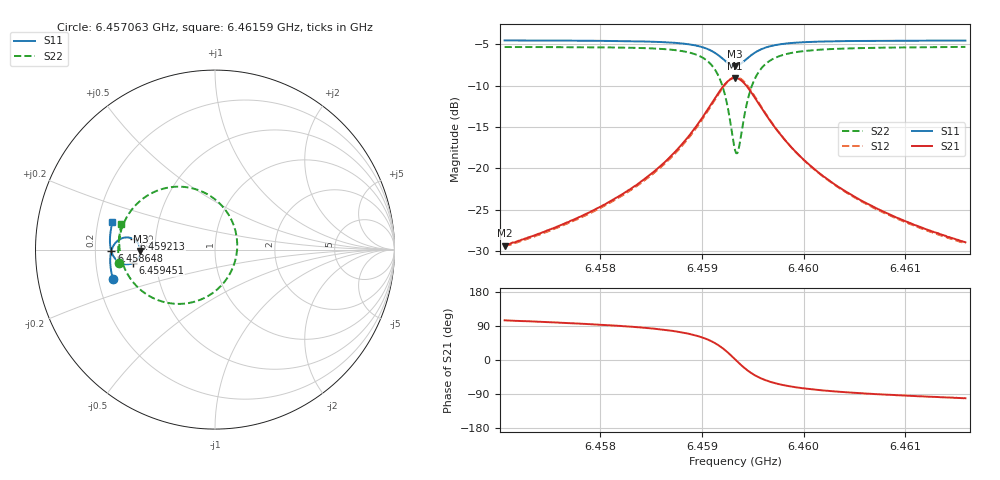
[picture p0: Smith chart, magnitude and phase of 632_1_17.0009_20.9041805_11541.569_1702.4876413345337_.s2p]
#  HZ  S  RI  R  50.00
! Rohde & Schwarz Vector Network Analyzer
! Rohde-Schwarz,ZNB20-2Port,1311601062101988,3.16
! Created: UTC 3/20/2024, 11:20:22 PM
! freq[Hz]  re:S11  im:S11  re:S21  im:S21  re:S12  im:S12  re:S22  im:S22
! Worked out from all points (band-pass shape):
!   401 points, 6.457063 GHz to 6.46159 GHz, reference 50 ohm
!   highest |S21| = -9.08 dB at 6.459327 GHz (marker M1); lowest = -29.3 dB at 6.457063 GHz (marker M2)
!   |S21| within 3 dB of the highest: 6.4591 GHz to 6.459554 GHz (453.3 kHz wide, 0.00702 % of centre)
!   lowest |S11| = -7.6 dB at 6.459327 GHz (marker M3), VSWR 2.42, Z = 20.7 - j0.362 ohm
!   |S11| at or under -10 dB: nowhere
!   |S22| runs from -18.2 to -5.3 dB; largest |S21 - S12| = 0.014
!   S11 on the Smith chart (normalised r, x): 6.457063 GHz: 0.26, -0.13; 6.458648 GHz: 0.27, -0.00; 6.459213 GHz: 0.38, +0.05; 6.459451 GHz: 0.37, -0.07; 6.46159 GHz: 0.26, +0.12
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6.4570631e9  -0.5685 -0.1656  -0.00866 0.033  -0.0069 0.0332  -0.5349 -0.0767
6.4578213e9  -0.5817 -0.0987  -0.00509 0.0513  -0.00256 0.0507  -0.5389 0.0134
6.4582175e9  -0.5841 -0.059  0.000643 0.0697  0.00379 0.0683  -0.5307 0.0766
6.4585796e9  -0.5798 -0.0155  0.0155 0.1002  0.0194 0.0974  -0.503 0.1588
6.4586475e9  -0.5774 -0.00602  0.0209 0.1086  0.025 0.1053  -0.4927 0.179
6.4588399e9  -0.5643 0.0244  0.0481 0.1398  0.0523 0.1348  -0.4415 0.2485
6.4589871e9  -0.5413 0.0506  0.0944 0.1705  0.0975 0.1637  -0.3559 0.3128
6.4591229e9  -0.4968 0.0678  0.1828 0.1867  0.1837 0.1791  -0.1938 0.3506
6.4592134e9  -0.4516 0.0571  0.2739 0.1545  0.2741 0.1487  -0.025 0.2981
6.4592813e9  -0.4222 0.0244  0.335 0.0811  0.3372 0.076  0.0918 0.1655
6.4593266e9  -0.4153 -0.00726  0.3512 0.0122  0.3551 0.00517  0.1237 0.0359
6.4593605e9  -0.4194 -0.0313  0.3452 -0.0412  0.3493 -0.0505  0.1116 -0.0654
6.4594058e9  -0.4353 -0.0579  0.3158 -0.1019  0.3183 -0.1142  0.0522 -0.1806
6.4594511e9  -0.4577 -0.0745  0.2728 -0.1436  0.2721 -0.1571  -0.0351 -0.2566
6.4595416e9  -0.5019 -0.0815  0.1864 -0.1747  0.18 -0.1866  -0.208 -0.3026
6.4596095e9  -0.5264 -0.0741  0.1372 -0.1725  0.1289 -0.1816  -0.3032 -0.2865
6.4596888e9  -0.5463 -0.0609  0.097 -0.1601  0.0882 -0.1665  -0.3787 -0.2511
6.4598585e9  -0.5691 -0.0311  0.0495 -0.1295  0.0415 -0.1321  -0.4638 -0.1723
6.4600849e9  -0.5808 0.00253  0.0222 -0.099  0.0161 -0.0997  -0.5082 -0.0932
6.4604357e9  -0.5854 0.0446  0.00563 -0.0711  0.00149 -0.0704  -0.5298 -0.011
6.4608431e9  -0.5834 0.0857  -0.00175 -0.0527  -0.00467 -0.052  -0.5335 0.0553
6.4615901e9  -0.5713 0.1521  -0.00676 -0.0351  -0.0084 -0.0341  -0.5218 0.1447
